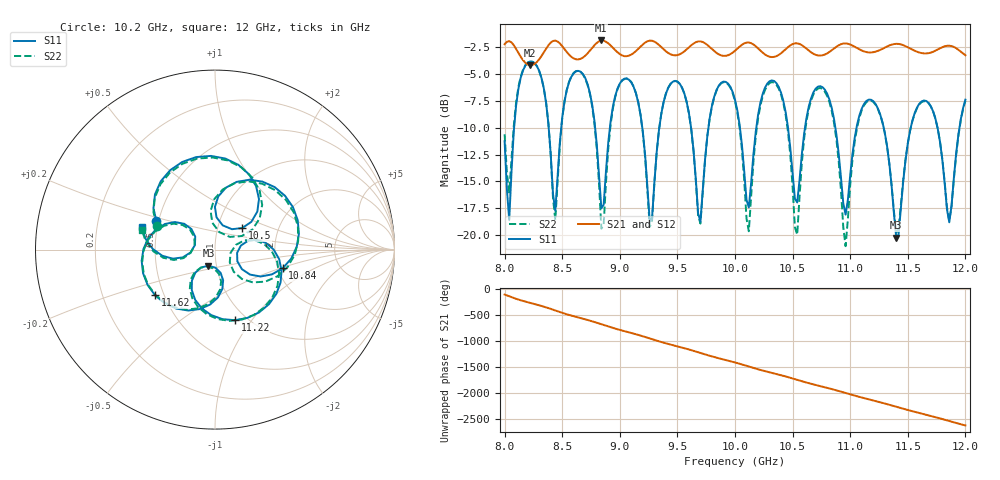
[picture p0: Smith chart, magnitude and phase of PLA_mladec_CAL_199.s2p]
#  HZ  S  DB  R  50.00
!  Rohde  &  Schwarz  ZVA67  4Ports  -  Version  3.60  -  1305.7002k04  SN:  101051
!  Date:  2012-04-04  16:24:54
!  Measurements:  S11  S21  S12  S22
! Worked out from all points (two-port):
!   201 points, 8 GHz to 12 GHz, reference 50 ohm
!   highest |S21| = -1.85 dB at 8.84 GHz (marker M1); lowest = -4.2 dB at 8.22 GHz (marker M2)
!   |S21| within 3 dB of the highest: start of sweep to end of sweep
!   lowest |S11| = -20.3 dB at 11.4 GHz (marker M3), VSWR 1.21, Z = 45.7 - j8.29 ohm
!   |S11| at or under -10 dB: 10.87 GHz to 11.05 GHz (183.5 MHz wide, 1.67 % of centre); 11.29 GHz to 11.53 GHz (234.3 MHz wide, 2.05 % of centre); 11.76 GHz to 11.95 GHz (190.4 MHz wide, 1.61 % of centre) (the widest 3 of 10)
!   |S22| runs from -21.0 to -3.8 dB; largest |S21 - S12| = 0.01
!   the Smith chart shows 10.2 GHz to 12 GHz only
!   S11 on the Smith chart (normalised r, x): 10.2 GHz: 0.49, +0.18; 10.5 GHz: 1.31, +0.33; 10.84 GHz: 2.12, -0.52; 11.22 GHz: 0.88, -0.83; 11.62 GHz: 0.45, -0.28; 12 GHz: 0.41, +0.13
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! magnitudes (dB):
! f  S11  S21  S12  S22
! 8 GHz  -11.3  -2.2  -2.2  -10.6
! 8.22 GHz  -3.8  -4.2  -4.2  -3.8
! 8.44 GHz  -17.7  -1.9  -1.9  -18.6
! 8.68 GHz  -5.0  -3.4  -3.5  -5.0
! 8.84 GHz  -17.5  -1.9  -1.9  -19.4
! 9 GHz  -5.9  -3.1  -3.1  -5.9
! 9.26 GHz  -18.8  -1.9  -1.9  -19.3
! 9.34 GHz  -10.2  -2.3  -2.3  -10.2
! 9.7 GHz  -18.7  -1.9  -1.9  -18.9
! 10 GHz  -7.4  -2.8  -2.8  -7.5
! 10.12 GHz  -17.4  -2.0  -2.1  -19.6
! 10.2 GHz  -8.8  -2.6  -2.6  -9.1
! 10.5 GHz  -14.3  -2.2  -2.2  -15.5
! 10.68 GHz  -6.7  -3.1  -3.1  -6.9
! 10.84 GHz  -8.2  -2.8  -2.8  -8.4
! 10.96 GHz  -18.1  -2.1  -2.1  -21.0
! 11.22 GHz  -7.8  -2.9  -2.9  -7.8
! 11.34 GHz  -13.4  -2.3  -2.3  -13.4
! 11.4 GHz  -20.3  -2.2  -2.2  -19.8
! 11.62 GHz  -7.5  -3.0  -3.0  -7.6
! 11.86 GHz  -18.8  -2.3  -2.4  -18.7
! 12 GHz  -7.4  -3.2  -3.2  -7.5
